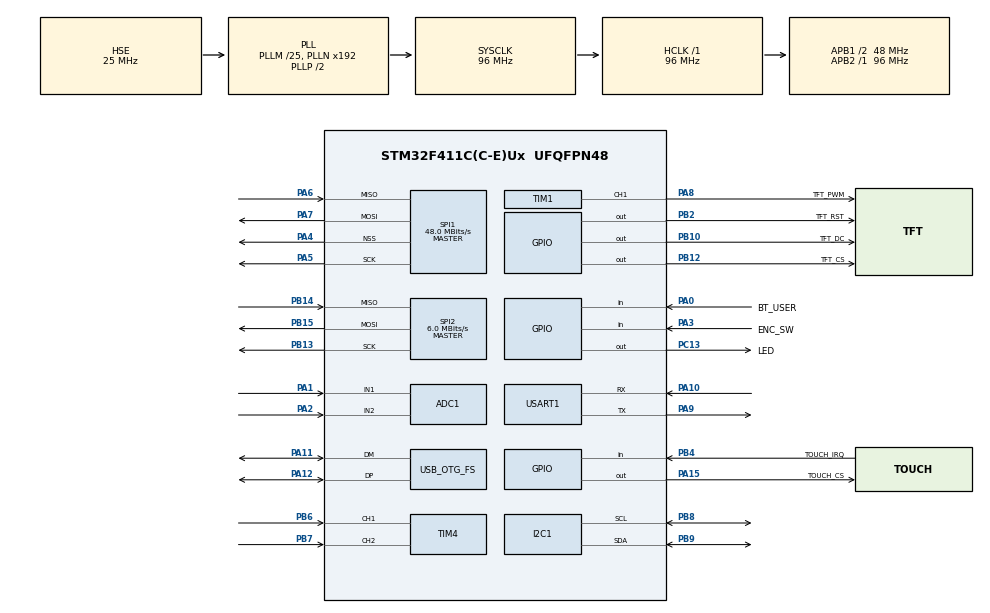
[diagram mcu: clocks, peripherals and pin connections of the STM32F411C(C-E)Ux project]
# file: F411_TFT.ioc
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ADC1.Channel-0\#ChannelRegularConversion=ADC_CHANNEL_1
ADC1.Channel-1\#ChannelRegularConversion=ADC_CHANNEL_2
ADC1.NbrOfConversion=2
ADC1.NbrOfConversionFlag=1
ADC1.Rank-0\#ChannelRegularConversion=1
ADC1.Rank-1\#ChannelRegularConversion=2
ADC1.SamplingTime-0\#ChannelRegularConversion=ADC_SAMPLETIME_144CYCLES
ADC1.SamplingTime-1\#ChannelRegularConversion=ADC_SAMPLETIME_144CYCLES
ADC1.master=1
I2C1.I2C_Mode=I2C_Fast
Mcu.Family=STM32F4
Mcu.Name=STM32F411C(C-E)Ux
Mcu.Package=UFQFPN48
NVIC.OTG_FS_IRQn=true\:0\:0\:false\:false\:true\:false\:true
NVIC.PriorityGroup=NVIC_PRIORITYGROUP_4
NVIC.TIM1_UP_TIM10_IRQn=true\:15\:0\:false\:false\:true\:false\:true
NVIC.TimeBase=TIM1_UP_TIM10_IRQn
NVIC.TimeBaseIP=TIM10
PA0-WKUP.GPIO_Label=BT_USER
PA0-WKUP.Signal=GPIO_Input
PA1.Signal=ADCx_IN1
PA10.Mode=Asynchronous
PA10.Signal=USART1_RX
PA11.Mode=Device_Only
PA11.Signal=USB_OTG_FS_DM
PA12.Mode=Device_Only
PA12.Signal=USB_OTG_FS_DP
PA13.Mode=Serial_Wire
PA13.Signal=SYS_JTMS-SWDIO
PA14.Mode=Serial_Wire
PA14.Signal=SYS_JTCK-SWCLK
PA15.GPIO_Label=TOUCH_CS
PA15.Signal=GPIO_Output
PA2.Signal=ADCx_IN2
PA3.GPIO_Label=ENC_SW
PA3.GPIO_PuPd=GPIO_PULLUP
PA3.Signal=GPIO_Input
PA4.Mode=NSS_Signal_Hard_Output
PA4.Signal=SPI1_NSS
PA5.Mode=Full_Duplex_Master
PA5.Signal=SPI1_SCK
PA6.Mode=Full_Duplex_Master
PA6.Signal=SPI1_MISO
PA7.Mode=Full_Duplex_Master
PA7.Signal=SPI1_MOSI
PA8.GPIO_Label=TFT_PWM
PA8.Signal=S_TIM1_CH1
PA9.Mode=Asynchronous
PA9.Signal=USART1_TX
PB10.GPIO_Label=TFT_DC
PB10.Signal=GPIO_Output
PB12.GPIO_Label=TFT_CS
PB12.Signal=GPIO_Output
PB13.Mode=Full_Duplex_Master
PB13.Signal=SPI2_SCK
PB14.Mode=Full_Duplex_Master
PB14.Signal=SPI2_MISO
PB15.Mode=Full_Duplex_Master
PB15.Signal=SPI2_MOSI
PB2.GPIO_Label=TFT_RST
PB2.Signal=GPIO_Output
PB4.GPIO_Label=TOUCH_IRQ
PB4.GPIO_PuPd=GPIO_PULLUP
PB4.Signal=GPIO_Input
PB6.Signal=S_TIM4_CH1
PB7.Signal=S_TIM4_CH2
PB8.Mode=I2C
PB8.Signal=I2C1_SCL
PB9.Mode=I2C
PB9.Signal=I2C1_SDA
PC13-ANTI_TAMP.GPIO_Label=LED
PC13-ANTI_TAMP.Signal=GPIO_Output
PC14-OSC32_IN.Mode=LSE-External-Oscillator
PC14-OSC32_IN.Signal=RCC_OSC32_IN
PC15-OSC32_OUT.Mode=LSE-External-Oscillator
PC15-OSC32_OUT.Signal=RCC_OSC32_OUT
PH0\ -\ OSC_IN.Mode=HSE-External-Oscillator
PH0\ -\ OSC_IN.Signal=RCC_OSC_IN
PH1\ -\ OSC_OUT.Mode=HSE-External-Oscillator
PH1\ -\ OSC_OUT.Signal=RCC_OSC_OUT
ProjectManager.HeapSize=0x200
ProjectManager.StackSize=0x400
ProjectManager.TargetToolchain=STM32CubeIDE
RCC.48MHZClocksFreq_Value=48000000
RCC.AHBFreq_Value=96000000
RCC.APB1CLKDivider=RCC_HCLK_DIV2
RCC.APB1Freq_Value=48000000
RCC.APB1TimFreq_Value=96000000
RCC.APB2Freq_Value=96000000
RCC.APB2TimFreq_Value=96000000
RCC.CortexFreq_Value=96000000
RCC.EnbaleCSS=true
RCC.HCLKFreq_Value=96000000
RCC.HSE_VALUE=25000000
RCC.HSI_VALUE=16000000
RCC.PLLM=25
RCC.RCC_RTC_Clock_Source=RCC_RTCCLKSOURCE_LSE
RCC.RCC_RTC_Clock_SourceVirtual=RCC_RTCCLKSOURCE_LSE
RCC.SYSCLKFreq_VALUE=96000000
RCC.SYSCLKSource=RCC_SYSCLKSOURCE_PLLCLK
RCC.VCOOutputFreq_Value=192000000
RTC.Year=21
SH.ADCx_IN1.0=ADC1_IN1,IN1
SH.ADCx_IN2.0=ADC1_IN2,IN2
SH.S_TIM1_CH1.0=TIM1_CH1,PWM Generation1 CH1
SH.S_TIM4_CH1.0=TIM4_CH1,Encoder_Interface
SH.S_TIM4_CH2.0=TIM4_CH2,Encoder_Interface
SPI1.CalculateBaudRate=48.0 MBits/s
SPI1.Direction=SPI_DIRECTION_2LINES
SPI1.Mode=SPI_MODE_MASTER
SPI1.VirtualNSS=VM_NSSHARD
SPI1.VirtualType=VM_MASTER
SPI2.BaudRatePrescaler=SPI_BAUDRATEPRESCALER_8
SPI2.CalculateBaudRate=6.0 MBits/s
SPI2.Direction=SPI_DIRECTION_2LINES
SPI2.Mode=SPI_MODE_MASTER
SPI2.VirtualType=VM_MASTER
TIM1.Channel-PWM\ Generation1\ CH1=TIM_CHANNEL_1
TIM1.Period=4095
TIM1.Prescaler=1
TIM4.AutoReloadPreload=TIM_AUTORELOAD_PRELOAD_ENABLE
TIM4.EncoderMode=TIM_ENCODERMODE_TI12
TIM4.IC1Filter=10
TIM4.IC2Filter=10
USART1.VirtualMode=VM_ASYNC
USB_DEVICE.CLASS_NAME_FS=CDC
USB_DEVICE.VirtualMode=Cdc
USB_DEVICE.VirtualModeFS=Cdc_FS
USB_OTG_FS.VirtualMode=Device_Only
VP_RTC_VS_RTC_Activate.Mode=RTC_Enabled
VP_RTC_VS_RTC_Calendar.Mode=RTC_Calendar
VP_SYS_VS_tim10.Mode=TIM10
VP_TIM1_VS_ClockSourceINT.Mode=Internal
VP_USB_DEVICE_VS_USB_DEVICE_CDC_FS.Mode=CDC_FS
board=custom

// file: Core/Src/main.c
/* USER CODE BEGIN Header */
/**
  ******************************************************************************
  * @file           : main.c
  * @brief          : Main program body
  ******************************************************************************
  * @attention
  *
  * <h2><center>&copy; Copyright (c) 2021 STMicroelectronics.
  * All rights reserved.</center></h2>
  *
  * This software component is licensed by ST under Ultimate Liberty license
  * SLA0044, the "License"; You may not use this file except in compliance with
  * the License. You may obtain a copy of the License at:
  *                             www.st.com/SLA0044
  *
  ******************************************************************************
  */
/* USER CODE END Header */
#include "main.h"
#include "adc.h"
#include "i2c.h"
#include "rtc.h"
#include "spi.h"
#include "tim.h"
#include "usart.h"
#include "usb_device.h"
#include "gpio.h"

/* USER CODE BEGIN Includes */
#include "lvgl.h"
#include "../lvgl/examples/lv_examples.h"
#include "../App/src/ILI9341.h"
#include "../App/src/ADS1115.h"
#include "../App/src/key.h"
#include "../App/src/w25qxx_spi.h"
/* USER CODE END Includes */

/* USER CODE BEGIN PV */
uint8_t buf_tft[320 * 10 * 2];
uint32_t ADC_CH1 = 0, ADC_CH2 = 0;
uint32_t timer_key = 0;
uint32_t timer_led = 0;
/* USER CODE END PV */

void SystemClock_Config(void);

int main(void)
{

  /* MCU Configuration--------------------------------------------------------*/

  /* Reset of all peripherals, Initializes the Flash interface and the Systick. */
  HAL_Init();

  /* Configure the system clock */
  SystemClock_Config();

  /* Initialize all configured peripherals */
  MX_GPIO_Init();
  MX_ADC1_Init();
  MX_I2C1_Init();
  MX_RTC_Init();
  MX_SPI1_Init();
  MX_SPI2_Init();
  MX_TIM1_Init();
  MX_USART1_UART_Init();
  MX_USB_DEVICE_Init();
  MX_TIM4_Init();
  /* USER CODE BEGIN 2 */
  HAL_TIM_Encoder_Start(&htim4, TIM_CHANNEL_ALL);
  HAL_TIM_PWM_Start(&htim1, TIM_CHANNEL_1);
  __HAL_TIM_SetCompare(&htim1, TIM_CHANNEL_1, 2048);		// PWM_CH1 = 2048 (50%)      TFT_LED

  Evt_InitQueue();
  KeyboardInit(0x01);
  W25qxx_Init();

  ILI9341_Init();
  ILI9341_Set_Address(0, 0, ILI9341_SCREEN_WIDTH-1, ILI9341_SCREEN_HEIGHT-1);
  ILI9341_Fill_Screen(0x0000);
  ILI9341_Set_Rotation(3);

  lv_init();

  static lv_disp_draw_buf_t draw_buf;
  static lv_color_t buf1[320 * 240 / 10];                        	// Declare a buffer for 1/10 screen size
  lv_disp_draw_buf_init(&draw_buf, buf1, NULL, 320 * 240 / 10);		// Initialize the display buffer.

  static lv_disp_drv_t disp_drv;        /*Descriptor of a display driver*/
  lv_disp_drv_init(&disp_drv);          /*Basic initialization*/
  disp_drv.flush_cb = ILI9341_Flush;    /*Set your driver function*/
  disp_drv.draw_buf = &draw_buf;        /*Assign the buffer to the display*/
  disp_drv.hor_res = 320;   			/*Set the horizontal resolution of the display*/
  disp_drv.ver_res = 240;   			/*Set the vertical resolution of the display*/
  lv_disp_drv_register(&disp_drv);      /*Finally register the driver*/

  static lv_indev_drv_t indev_drv;           /*Descriptor of a input device driver*/
  lv_indev_drv_init(&indev_drv);             /*Basic initialization*/
  indev_drv.type = LV_INDEV_TYPE_ENCODER;    /*Touch pad is a pointer-like device*/
  indev_drv.read_cb = encoder_read;      /*Set your driver function*/
  lv_indev_drv_register(&indev_drv);         /*Finally register the driver*/

  // Encoder Read
  // ((TIM4->CNT)>>2)

  lv_example_label_1();

  /* USER CODE END 2 */

  /* Infinite loop */
  while (1)
  {

    /* USER CODE BEGIN 3 */

	  ADC_CH1 = read_adc_ch(ADC_CHANNEL_1);
	  ADC_CH2 = read_adc_ch(ADC_CHANNEL_2);

	  if(HAL_GetTick() - timer_led > 200) {
		  timer_led = HAL_GetTick();
		  HAL_GPIO_TogglePin(LED_GPIO_Port, LED_Pin);
	  }

	  lv_timer_handler();

	  KeyboardEvent();

	  HAL_Delay(5);
  }
  /* USER CODE END 3 */
}

void SystemClock_Config(void)
{
  RCC_OscInitTypeDef RCC_OscInitStruct = {0};
  RCC_ClkInitTypeDef RCC_ClkInitStruct = {0};

  /** Configure the main internal regulator output voltage
  */
  __HAL_RCC_PWR_CLK_ENABLE();
  __HAL_PWR_VOLTAGESCALING_CONFIG(PWR_REGULATOR_VOLTAGE_SCALE1);
  /** Initializes the RCC Oscillators according to the specified parameters
  * in the RCC_OscInitTypeDef structure.
  */
  RCC_OscInitStruct.OscillatorType = RCC_OSCILLATORTYPE_HSE|RCC_OSCILLATORTYPE_LSE;
  RCC_OscInitStruct.HSEState = RCC_HSE_ON;
  RCC_OscInitStruct.LSEState = RCC_LSE_ON;
  RCC_OscInitStruct.PLL.PLLState = RCC_PLL_ON;
  RCC_OscInitStruct.PLL.PLLSource = RCC_PLLSOURCE_HSE;
  RCC_OscInitStruct.PLL.PLLM = 25;
  RCC_OscInitStruct.PLL.PLLN = 192;
  RCC_OscInitStruct.PLL.PLLP = RCC_PLLP_DIV2;
  RCC_OscInitStruct.PLL.PLLQ = 4;
  if (HAL_RCC_OscConfig(&RCC_OscInitStruct) != HAL_OK)
  {
    Error_Handler();
  }
  /** Initializes the CPU, AHB and APB buses clocks
  */
  RCC_ClkInitStruct.ClockType = RCC_CLOCKTYPE_HCLK|RCC_CLOCKTYPE_SYSCLK
                              |RCC_CLOCKTYPE_PCLK1|RCC_CLOCKTYPE_PCLK2;
  RCC_ClkInitStruct.SYSCLKSource = RCC_SYSCLKSOURCE_PLLCLK;
  RCC_ClkInitStruct.AHBCLKDivider = RCC_SYSCLK_DIV1;
  RCC_ClkInitStruct.APB1CLKDivider = RCC_HCLK_DIV2;
  RCC_ClkInitStruct.APB2CLKDivider = RCC_HCLK_DIV1;

  if (HAL_RCC_ClockConfig(&RCC_ClkInitStruct, FLASH_LATENCY_3) != HAL_OK)
  {
    Error_Handler();
  }
  /** Enables the Clock Security System
  */
  HAL_RCC_EnableCSS();
}

void HAL_TIM_PeriodElapsedCallback(TIM_HandleTypeDef *htim)
{
  if (htim->Instance == TIM10) {
    HAL_IncTick();
  }
  /* USER CODE BEGIN Callback 1 */
  if (htim->Instance == TIM10) {
	  lv_tick_inc(1);
	  timer_key++;
	  if(timer_key >= PUSHBTN_TMR_PERIOD) {
		  timer_key = 0;
		  Key_Read();
	  }
  }
  /* USER CODE END Callback 1 */
}

void Error_Handler(void)
{
  __disable_irq();
  while (1)
  {
  }
}

/************************ (C) COPYRIGHT STMicroelectronics *****END OF FILE****/
